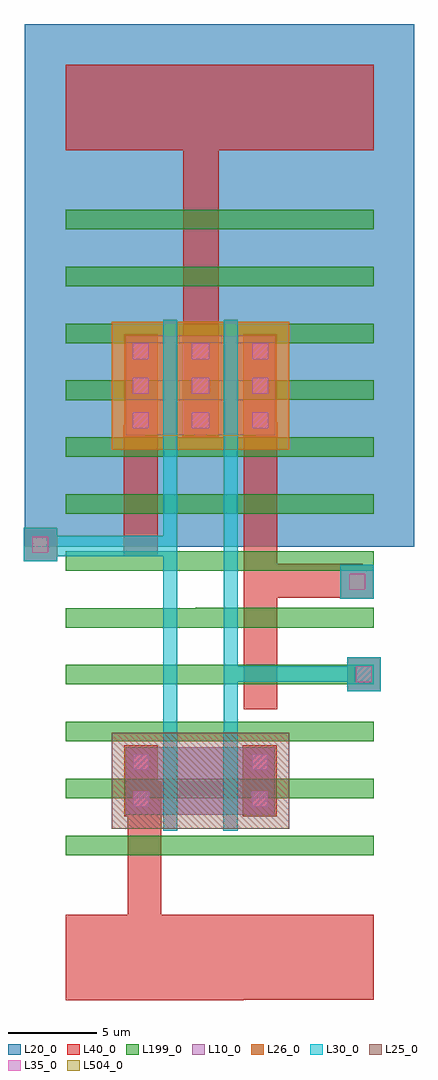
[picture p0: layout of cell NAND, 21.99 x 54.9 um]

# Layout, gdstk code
from math import pi, radians
import gdstk
lib = gdstk.Library(unit=1e-6, precision=1e-09)
def R(c, l, rs):  # rectangles x0, y0, x1, y1
    for r in rs: c.add(gdstk.rectangle(r[:2], r[2:], *l))
def A(c, l, x, y, w, h, nx, ny, dx, dy):  # array of equal rectangles
    R(c, l, [(x+i*dx, y+j*dy, x+i*dx+w, y+j*dy+h) for i in range(nx) for j in range(ny)])
def P(c, l, *ps):  # polygons
    for p in ps: c.add(gdstk.Polygon(p, *l))
L10_0 = (10, 0)
L20_0 = (20, 0)
L25_0 = (25, 0)
L26_0 = (26, 0)
L30_0 = (30, 0)
L35_0 = (35, 0)
L40_0 = (40, 0)
L199_0 = (199, 0)
L504_0 = (504, 0)

pmos_1 = lib.new_cell('pMOS$1')
R(pmos_1, L10_0, [(-2.5,-2.8,-0.8,2.8), (-1.4,-2.8,1.4,2.8), (0.8,-2.8,2.5,2.8)])
R(pmos_1, L20_0, [(-4.9,-5.2,4.9,5.2)])
R(pmos_1, L26_0, [(-3.3,-3.6,3.3,3.6)])
R(pmos_1, L30_0, [(-0.4,-3.7,0.4,3.7)])
A(pmos_1, L35_0, -2.1, -2.4, 0.9, 0.9, 1, 3, 0, 1.95)
A(pmos_1, L35_0, 1.2, -2.4, 0.9, 0.9, 1, 3, 0, 1.95)
R(pmos_1, L40_0, [(-2.6,-2.9,-0.7,2.9), (0.7,-2.9,2.6,2.9)])

nmos_4 = lib.new_cell('nMOS$4')
R(nmos_4, L10_0, [(-2.5,-1.9,-0.8,1.9), (-1.4,-1.9,1.4,1.9)])
R(nmos_4, L25_0, [(-3.3,-2.7,2.2,2.7)])
R(nmos_4, L30_0, [(-0.4,-2.8,0.4,2.8)])
R(nmos_4, L35_0, [(-2.1,-1.5,-1.2,-0.6), (-2.1,0.6,-1.2,1.5)])
R(nmos_4, L40_0, [(-2.6,-2,-0.7,2)])

contactpoly1 = lib.new_cell('ContactPoly1')
R(contactpoly1, L30_0, [(-0.95,-0.95,0.95,0.95)])
R(contactpoly1, L35_0, [(-0.45,-0.45,0.45,0.45)])
R(contactpoly1, L40_0, [(-0.95,-0.95,0.95,0.95)])

nmos_2 = lib.new_cell('nMOS$2')
R(nmos_2, L10_0, [(-1.4,-1.9,1.4,1.9), (0.8,-1.9,2.5,1.9)])
R(nmos_2, L25_0, [(-2.2,-2.7,3.3,2.7)])
R(nmos_2, L30_0, [(-0.4,-2.8,0.4,2.8)])
R(nmos_2, L35_0, [(1.2,-1.5,2.1,-0.6), (1.2,0.6,2.1,1.5)])
R(nmos_2, L40_0, [(0.7,-2,2.6,2)])

rails_1 = lib.new_cell('RAILS$1')
R(rails_1, L20_0, [(-7.3,-0.8,7.3,28.6)])
R(rails_1, L40_0, [(-5,-26.3,5,-21.5), (-5,21.5,5,26.3)])
A(rails_1, L199_0, -5, -18.15, 10, 1.1, 1, 12, 0, 3.2)

nand = lib.new_cell('NAND')
R(nand, L10_0, [(-61.469,-15.881,-60.864,-15.877), (-61.521,-15.878,-60.806,-13.544), (-61.508,-13.558,-60.859,-12.081)])
R(nand, L30_0, [(-63.272,-11.577,-62.472,4.624), (-59.877,-11.486,-59.077,5.02), (-59.765,-8.397,-55.173,-7.532), (-56.145,-8.396,-51.553,-7.531), (-70.26,-1.338,-62.474,-0.206)])
P(nand, L30_0, [(-62.577,-4.044),(-62.577,-4.044),(-62.577,-4.044),(-62.577,-4.044)])
R(nand, L40_0, [(-65.267,-23.467,-63.367,-14.032), (-58.753,-9.962,-56.853,6.178), (-58.748,-3.687,-52.049,-1.779), (-65.481,-1.363,-63.581,6.043), (-62.14,5.349,-60.137,23.667)])
P(nand, L504_0, [(-60.883,-12.082),(-59.883,-12.08),(-59.081,-12.08),(-58.081,-12.082)],
  [(-64.27,-12.082),(-63.27,-12.08),(-62.468,-12.08),(-61.468,-12.082)],
  [(-60.875,11.042),(-59.875,11.044),(-59.073,11.044),(-58.073,11.042)],
  [(-63.27,-15.882),(-64.27,-15.88),(-61.468,-15.88),(-62.468,-15.882)],
  [(-64.274,11.042),(-63.274,11.044),(-62.472,11.044),(-61.472,11.042)],
  [(-59.875,5.442),(-60.875,5.444),(-58.073,5.444),(-59.073,5.442)],
  [(-59.883,-15.882),(-60.883,-15.88),(-58.081,-15.88),(-59.081,-15.882)],
  [(-63.274,5.442),(-64.274,5.444),(-61.472,5.444),(-62.472,5.442)])
nand.add(gdstk.Reference(pmos_1, (-59.474,8.243), rotation=pi))
nand.add(gdstk.Reference(nmos_4, (-62.869,-13.981)))
nand.add(gdstk.Reference(contactpoly1, (-70.176,-0.691), rotation=pi))
nand.add(gdstk.Reference(contactpoly1, (-52.368,-2.787), rotation=pi))
nand.add(gdstk.Reference(contactpoly1, (-51.976,-7.984), rotation=pi))
nand.add(gdstk.Reference(nmos_2, (-59.482,-13.981)))
nand.add(gdstk.Reference(rails_1, (-63.756,-0.012)))
nand.add(gdstk.Reference(pmos_1, (-62.873,8.243), rotation=pi))
nand.add(gdstk.Reference(rails_1, (-56.437,-0.009)))

lib.write_gds('NAND.gds')
